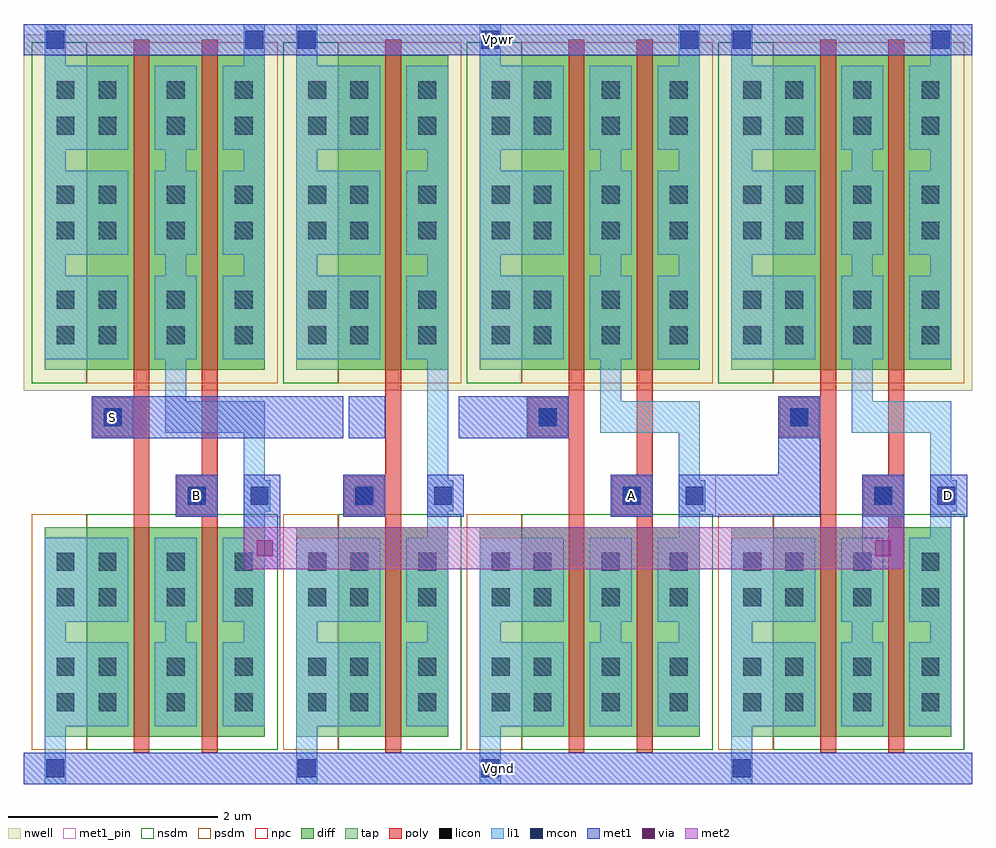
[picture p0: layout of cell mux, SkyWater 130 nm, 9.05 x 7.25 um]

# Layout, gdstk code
import gdstk
lib = gdstk.Library(unit=1e-6, precision=1e-09)
def R(c, l, rs):  # rectangles x0, y0, x1, y1
    for r in rs: c.add(gdstk.rectangle(r[:2], r[2:], *l))
def A(c, l, x, y, w, h, nx, ny, dx, dy):  # array of equal rectangles
    R(c, l, [(x+i*dx, y+j*dy, x+i*dx+w, y+j*dy+h) for i in range(nx) for j in range(ny)])
nwell = (64, 20)
diff = (65, 20)
tap = (65, 44)
poly = (66, 20)
licon = (66, 44)
li1 = (67, 20)
mcon = (67, 44)
met1_pin = (68, 16)
met1 = (68, 20)
via = (68, 44)
met2 = (69, 20)
nsdm = (93, 44)
psdm = (94, 20)
npc = (95, 20)

nand = lib.new_cell('nand')
R(nand, nwell, [(-1.05,1.8,1.45,5.2)])
R(nand, diff, [(-0.45,-1.5,1.25,0.5), (-0.45,2,1.25,5)])
R(nand, tap, [(-0.85,-1.5,-0.45,0.5), (-0.85,2,-0.45,5)])
R(nand, poly, [(0,-1.65,0.15,1.35), (0.65,-1.65,0.8,0.6), (0.4,0.6,0.8,1), (0.65,1,0.8,5.15), (-0.4,1.35,0.15,1.75), (0,1.75,0.15,5.15)])
A(nand, licon, -0.335, -1.255, 0.17, 0.17, 3, 2, 0.65, 0.34)
A(nand, licon, -0.335, -0.255, 0.17, 0.17, 3, 2, 0.65, 0.34)
A(nand, licon, -0.335, 2.245, 0.17, 0.17, 3, 2, 0.65, 0.34)
A(nand, licon, -0.335, 3.245, 0.17, 0.17, 3, 2, 0.65, 0.34)
A(nand, licon, -0.335, 4.245, 0.17, 0.17, 3, 2, 0.65, 0.34)
R(nand, licon, [(-0.735,-1.255,-0.565,-1.085), (-0.735,-0.915,-0.565,-0.745), (-0.735,-0.255,-0.565,-0.085), (-0.735,0.085,-0.565,0.255), (0.515,0.715,0.685,0.885), (-0.285,1.465,-0.115,1.635), (-0.735,2.245,-0.565,2.415), (-0.735,2.585,-0.565,2.755), (-0.735,3.245,-0.565,3.415), (-0.735,3.585,-0.565,3.755), (-0.735,4.245,-0.565,4.415), (-0.735,4.585,-0.565,4.755)])
A(nand, li1, -0.85, 2.1, 0.8, 0.8, 1, 3, 0, 1)
A(nand, li1, 0.2, 2.1, 0.4, 0.8, 1, 3, 0, 1)
A(nand, li1, 0.85, 2.1, 0.4, 0.8, 1, 3, 0, 1)
R(nand, li1, [(-0.85,-1.95,-0.65,-1.4), (-0.85,-1.4,-0.05,-0.6), (0.2,-1.4,0.6,-0.6), (0.85,-1.4,1.25,-0.6), (-0.85,-0.6,-0.65,-0.4), (0.3,-0.6,0.5,-0.4), (1.05,-0.6,1.25,-0.4), (-0.85,-0.4,-0.05,0.4), (0.2,-0.4,0.6,0.4), (0.85,-0.4,1.25,0.4), (1.05,0.4,1.25,0.65), (0.4,0.6,0.8,1), (1.05,0.65,1.3,0.95), (1.05,0.95,1.25,1.4), (-0.4,1.35,0,1.75), (0.3,1.4,1.25,1.7), (0.3,1.7,0.5,2.1), (-0.85,2.9,-0.65,3.1), (0.3,2.9,0.5,3.1), (1.05,2.9,1.25,3.1), (-0.85,3.9,-0.65,4.1), (0.3,3.9,0.5,4.1), (1.05,3.9,1.25,4.1), (-0.85,4.9,-0.65,5.3), (1.05,4.9,1.25,5.3)])
R(nand, mcon, [(-0.835,-1.885,-0.665,-1.715), (0.515,0.715,0.685,0.885), (1.115,0.715,1.285,0.885), (-0.285,1.465,-0.115,1.635), (-0.835,5.065,-0.665,5.235), (1.065,5.065,1.235,5.235)])
R(nand, met1_pin, [(-0.85,-1.9,-0.65,-1.7), (0.4,0.6,0.8,1), (1.05,0.6,1.4,1), (-0.4,1.35,0,1.75), (-0.85,5.05,-0.65,5.25)])
R(nand, met1, [(-1.05,-1.95,1.45,-1.65), (0.4,0.6,0.8,1), (1.05,0.6,1.4,1), (-0.4,1.35,0,1.75), (-1.05,5,1.45,5.3)])
R(nand, nsdm, [(-0.45,-1.625,1.375,0.625), (-0.975,1.875,-0.45,5.125)])
R(nand, psdm, [(-0.975,-1.625,-0.45,0.625), (-0.45,1.875,1.375,5.125)])
R(nand, npc, [(0.415,0.615,0.785,0.985), (-0.385,1.365,-0.015,1.735)])
nand.add(gdstk.Label('A', (-0.2,1.55), layer=68, texttype=5))
nand.add(gdstk.Label('OUT', (1.225,0.8), layer=68, texttype=5))
nand.add(gdstk.Label('Vpwr', (-0.75,5.15), layer=68, texttype=5))
nand.add(gdstk.Label('Vgnd', (-0.75,-1.8), layer=68, texttype=5))
nand.add(gdstk.Label('B', (0.6,0.8), layer=68, texttype=5))

inverter = lib.new_cell('inverter')
R(inverter, nwell, [(-1.05,1.8,0.8,5.2)])
R(inverter, diff, [(-0.45,-1.5,0.6,0.5), (-0.45,2,0.6,5)])
R(inverter, tap, [(-0.85,-1.5,-0.45,0.5), (-0.85,2,-0.45,5)])
R(inverter, poly, [(0,-1.65,0.15,0.6), (-0.4,0.6,0.15,1), (0,1,0.15,5.15)])
R(inverter, licon, [(-0.735,-1.255,-0.565,-1.085), (-0.335,-1.255,-0.165,-1.085), (0.315,-1.255,0.485,-1.085), (-0.735,-0.915,-0.565,-0.745), (-0.335,-0.915,-0.165,-0.745), (0.315,-0.915,0.485,-0.745), (-0.735,-0.255,-0.565,-0.085), (-0.335,-0.255,-0.165,-0.085), (0.315,-0.255,0.485,-0.085), (-0.735,0.085,-0.565,0.255), (-0.335,0.085,-0.165,0.255), (0.315,0.085,0.485,0.255), (-0.285,0.715,-0.115,0.885), (-0.735,2.245,-0.565,2.415), (-0.335,2.245,-0.165,2.415), (0.315,2.245,0.485,2.415), (-0.735,2.585,-0.565,2.755), (-0.335,2.585,-0.165,2.755), (0.315,2.585,0.485,2.755), (-0.735,3.245,-0.565,3.415), (-0.335,3.245,-0.165,3.415), (0.315,3.245,0.485,3.415), (-0.735,3.585,-0.565,3.755), (-0.335,3.585,-0.165,3.755), (0.315,3.585,0.485,3.755), (-0.735,4.245,-0.565,4.415), (-0.335,4.245,-0.165,4.415), (0.315,4.245,0.485,4.415), (-0.735,4.585,-0.565,4.755), (-0.335,4.585,-0.165,4.755), (0.315,4.585,0.485,4.755)])
A(inverter, li1, -0.85, 2.1, 0.8, 0.8, 1, 3, 0, 1)
A(inverter, li1, 0.2, 2.1, 0.4, 0.8, 1, 3, 0, 1)
R(inverter, li1, [(-0.85,-1.95,-0.65,-1.4), (-0.85,-1.4,-0.05,-0.6), (0.2,-1.4,0.6,-0.6), (-0.85,-0.6,-0.65,-0.4), (0.4,-0.6,0.6,-0.4), (-0.85,-0.4,-0.05,0.4), (0.2,-0.4,0.6,0.4), (0.4,0.4,0.6,0.65), (-0.4,0.6,0,1), (0.4,0.65,0.65,0.95), (0.4,0.95,0.6,2.1), (-0.85,2.9,-0.65,3.1), (0.4,2.9,0.6,3.1), (-0.85,3.9,-0.65,4.1), (0.4,3.9,0.6,4.1), (-0.85,4.9,-0.65,5.3)])
R(inverter, mcon, [(-0.835,-1.885,-0.665,-1.715), (-0.285,0.715,-0.115,0.885), (0.465,0.715,0.635,0.885), (-0.835,5.065,-0.665,5.235)])
R(inverter, met1_pin, [(-0.85,-1.9,-0.65,-1.7), (0.4,0.6,0.75,1), (-0.3,0.7,-0.1,0.9), (-0.85,5.05,-0.65,5.25)])
R(inverter, met1, [(-1.05,-1.95,0.8,-1.65), (-0.4,0.6,0,1), (0.4,0.6,0.75,1), (-1.05,5,0.8,5.3)])
R(inverter, nsdm, [(-0.45,-1.625,0.725,0.625), (-0.975,1.875,-0.45,5.125)])
R(inverter, psdm, [(-0.975,-1.625,-0.45,0.625), (-0.45,1.875,0.725,5.125)])
R(inverter, npc, [(-0.385,0.615,-0.015,0.985)])
inverter.add(gdstk.Label('IN', (-0.2,0.8), layer=68, texttype=5))
inverter.add(gdstk.Label('OUT', (0.575,0.8), layer=68, texttype=5))
inverter.add(gdstk.Label('Vpwr', (-0.75,5.15), layer=68, texttype=5))
inverter.add(gdstk.Label('Vgnd', (-0.75,-1.8), layer=68, texttype=5))

mux = lib.new_cell('mux')
R(mux, nwell, [(8.95,3.75,9.05,7.15)])
R(mux, met1_pin, [(0,0,9.05,0.3), (1.45,2.55,1.85,2.95), (5.6,2.55,6,2.95), (8.65,2.55,9,2.95), (0.75,3.4,0.95,3.6), (0,6.95,9.05,7.25)])
R(mux, met1, [(0,0,9.05,0.3), (2.1,2.05,2.45,2.7), (8,2.05,8.4,2.55), (1.45,2.55,1.85,2.95), (5.6,2.55,6,2.95), (6.55,2.55,7.6,2.95), (8.65,2.55,9,2.95), (2.4,2.7,2.45,2.95), (7.2,2.95,7.6,3.3), (0.65,3.3,3.05,3.7), (3.1,3.3,3.45,3.7), (4.15,3.3,4.8,3.7), (0,6.95,9.05,7.25)])
R(mux, via, [(2.225,2.175,2.375,2.325), (8.125,2.175,8.275,2.325)])
R(mux, met2, [(2.1,2.05,8.4,2.45)])
mux.add(gdstk.Reference(nand, (7.6,1.95)))
mux.add(gdstk.Reference(nand, (5.2,1.95)))
mux.add(gdstk.Reference(nand, (1.05,1.95)))
mux.add(gdstk.Reference(inverter, (3.45,1.95)))
mux.add(gdstk.Label('S', (0.85,3.5), layer=68, texttype=5))
mux.add(gdstk.Label('A', (5.8,2.75), layer=68, texttype=5))
mux.add(gdstk.Label('B', (1.65,2.75), layer=68, texttype=5))
mux.add(gdstk.Label('Vpwr', (4.525,7.1), layer=68, texttype=5))
mux.add(gdstk.Label('Vgnd', (4.525,0.15), layer=68, texttype=5))
mux.add(gdstk.Label('D', (8.825,2.75), layer=68, texttype=5))

lib.write_gds('mux.gds')
